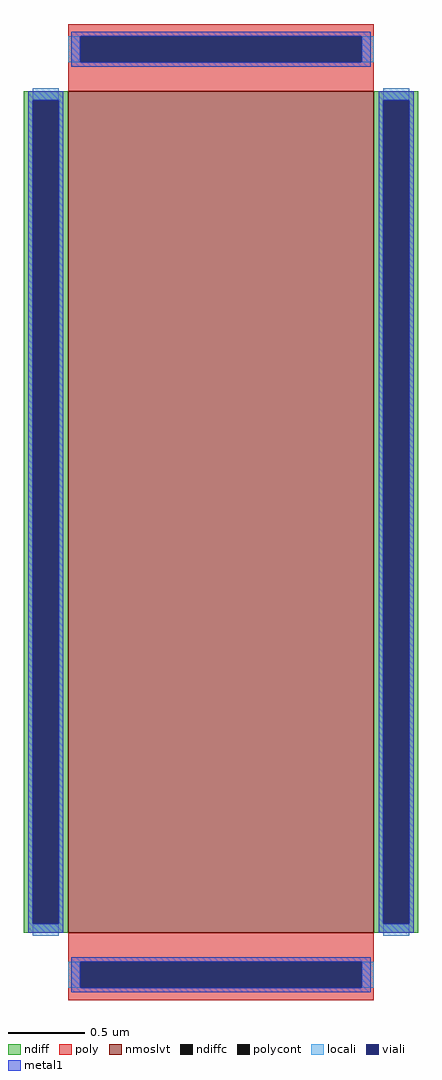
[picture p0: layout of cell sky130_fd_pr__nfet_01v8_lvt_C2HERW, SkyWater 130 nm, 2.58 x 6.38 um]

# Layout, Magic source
magic
tech sky130A
<< nmoslvt >>
rect -100 -275 100 275
<< ndiff >>
rect -129 269 -100 275
rect -129 -269 -123 269
rect -106 -269 -100 269
rect -129 -275 -100 -269
rect 100 269 129 275
rect 100 -269 106 269
rect 123 -269 129 269
rect 100 -275 129 -269
<< ndiffc >>
rect -123 -269 -106 269
rect 106 -269 123 269
<< poly >>
rect -100 311 100 319
rect -100 294 -92 311
rect 92 294 100 311
rect -100 275 100 294
rect -100 -294 100 -275
rect -100 -311 -92 -294
rect 92 -311 100 -294
rect -100 -319 100 -311
<< polycont >>
rect -92 294 92 311
rect -92 -311 92 -294
<< locali >>
rect -100 294 -92 311
rect 92 294 100 311
rect -123 269 -106 277
rect -123 -277 -106 -269
rect 106 269 123 277
rect 106 -277 123 -269
rect -100 -311 -92 -294
rect 92 -311 100 -294
<< viali >>
rect -92 294 92 311
rect -123 -269 -106 269
rect 106 -269 123 269
rect -92 -311 92 -294
<< metal1 >>
rect -98 311 98 314
rect -98 294 -92 311
rect 92 294 98 311
rect -98 291 98 294
rect -126 269 -103 275
rect -126 -269 -123 269
rect -106 -269 -103 269
rect -126 -275 -103 -269
rect 103 269 126 275
rect 103 -269 106 269
rect 123 -269 126 269
rect 103 -275 126 -269
rect -98 -294 98 -291
rect -98 -311 -92 -294
rect 92 -311 98 -294
rect -98 -314 98 -311
<< properties >>
string gencell sky130_fd_pr__nfet_01v8_lvt
string library sky130
string parameters w 5.5 l 2 m 1 nf 1 diffcov 100 polycov 100 guard 0 glc 0 grc 0 gtc 0 gbc 0 tbcov 100 rlcov 100 topc 1 botc 1 poverlap 0 doverlap 1 lmin 0.15 wmin 0.42 compatible {sky130_fd_pr__nfet_01v8 sky130_fd_pr__nfet_01v8_lvt  sky130_fd_bs_flash__special_sonosfet_star  sky130_fd_pr__nfet_g5v0d10v5 sky130_fd_pr__nfet_05v0_nvt  sky130_fd_pr__nfet_03v3_nvt} full_metal 0 viasrc 100 viadrn 100 viagate 100 viagb 0 viagr 0 viagl 0 viagt 0
<< end >>
